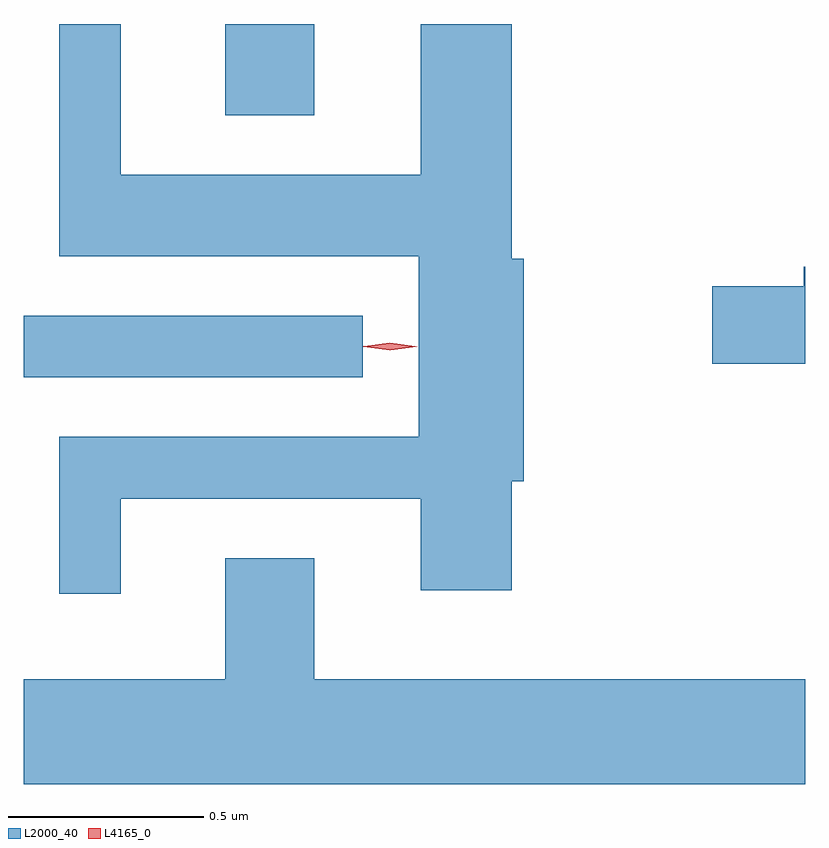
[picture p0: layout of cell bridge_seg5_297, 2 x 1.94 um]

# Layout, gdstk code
import gdstk
lib = gdstk.Library(unit=1e-6, precision=1e-09)
def R(c, l, rs):  # rectangles x0, y0, x1, y1
    for r in rs: c.add(gdstk.rectangle(r[:2], r[2:], *l))
def P(c, l, *ps):  # polygons
    for p in ps: c.add(gdstk.Polygon(p, *l))
L2000_40 = (2000, 40)
L4165_0 = (4165, 0)

bridge_seg5_297 = lib.new_cell('bridge_seg5_297')
R(bridge_seg5_297, L2000_40, [(929.455,1482.256,930.323,1482.414), (929.971,1482.926,930.199,1483.16)])
P(bridge_seg5_297, L2000_40, [(929.704,1481.946),(930.471,1481.946),(930.471,1481.711),(930.704,1481.711),(930.704,1481.991),(930.734,1481.991),(930.734,1482.559),(930.704,1482.559),(930.704,1483.16),(930.471,1483.16),(930.471,1482.774),(929.704,1482.774),(929.704,1483.16),(929.546,1483.16),(929.546,1482.566),(930.466,1482.566),(930.466,1482.104),(929.546,1482.104),(929.546,1481.703),(929.704,1481.703)],
  [(931.455,1482.539),(931.451,1482.539),(931.451,1482.489),(931.216,1482.489),(931.216,1482.291),(931.455,1482.291)],
  [(931.455,1481.484),(930.199,1481.484),(930.199,1481.794),(929.971,1481.794),(929.971,1481.484),(929.455,1481.484),(929.455,1481.216),(931.455,1481.216)])
P(bridge_seg5_297, L4165_0, [(930.392,1482.325),(930.327,1482.334),(930.327,1482.335),(930.327,1482.336),(930.392,1482.345),(930.457,1482.336),(930.457,1482.335),(930.457,1482.334)],
  [(930.393,1482.325),(930.324,1482.334),(930.324,1482.335),(930.324,1482.336),(930.393,1482.344),(930.461,1482.335),(930.462,1482.334),(930.461,1482.334)])

lib.write_gds('bridge_seg5_297.gds')
